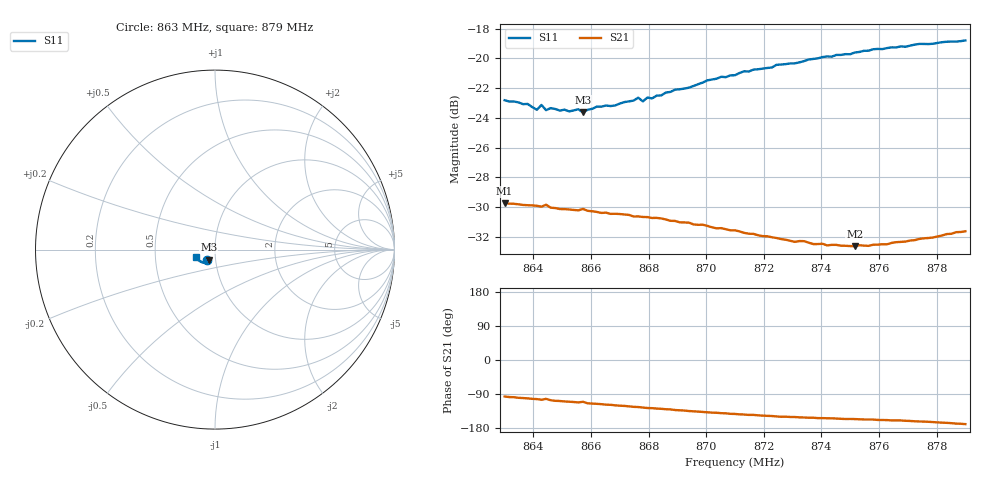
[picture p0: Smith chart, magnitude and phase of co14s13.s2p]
# HZ S RI R 50
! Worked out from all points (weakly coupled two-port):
!   101 points, 863 MHz to 879 MHz, reference 50 ohm
!   highest |S21| = -29.73 dB at 863 MHz (marker M1); lowest = -32.6 dB at 875.16 MHz (marker M2)
!   lowest |S11| = -23.6 dB at 865.72 MHz (marker M3), VSWR 1.14, Z = 46.4 - j5.23 ohm
!   |S11| at or under -10 dB: start of sweep to end of sweep
!   S12 and S22 are empty: the file has one direction only
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8.63e8  -0.0463 -0.0556  -0.00362 -0.0324  0 0  0 0
8.638e8  -0.0432 -0.0554  -0.00629 -0.0315  0 0  0 0
8.6412e8  -0.0409 -0.0533  -0.00728 -0.0311  0 0  0 0
8.6428e8  -0.0409 -0.0565  -0.00818 -0.0307  0 0  0 0
8.6444e8  -0.0373 -0.0556  -0.00699 -0.0314  0 0  0 0
8.646e8  -0.0405 -0.0547  -0.0088 -0.0302  0 0  0 0
8.6524e8  -0.0369 -0.0551  -0.0107 -0.0292  0 0  0 0
8.6556e8  -0.0379 -0.0558  -0.0115 -0.0286  0 0  0 0
8.6572e8  -0.0343 -0.0562  -0.0108 -0.0292  0 0  0 0
8.662e8  -0.0361 -0.0586  -0.0132 -0.0275  0 0  0 0
8.6684e8  -0.0357 -0.0596  -0.0149 -0.0261  0 0  0 0
8.6764e8  -0.0365 -0.0641  -0.0165 -0.0244  0 0  0 0
8.678e8  -0.0353 -0.0624  -0.017 -0.0239  0 0  0 0
8.6796e8  -0.0362 -0.0644  -0.0175 -0.0235  0 0  0 0
8.6844e8  -0.0364 -0.0656  -0.0182 -0.0226  0 0  0 0
8.7004e8  -0.0438 -0.0721  -0.0203 -0.0183  0 0  0 0
8.71e8  -0.049 -0.0728  -0.0209 -0.0161  0 0  0 0
8.7132e8  -0.0517 -0.0742  -0.0209 -0.0153  0 0  0 0
8.7372e8  -0.0684 -0.0723  -0.021 -0.011  0 0  0 0
8.7516e8  -0.0797 -0.0678  -0.0213 -0.00956  0 0  0 0
8.7644e8  -0.0907 -0.0603  -0.0224 -0.0084  0 0  0 0
8.79e8  -0.1079 -0.0395  -0.0258 -0.00492  0 0  0 0
